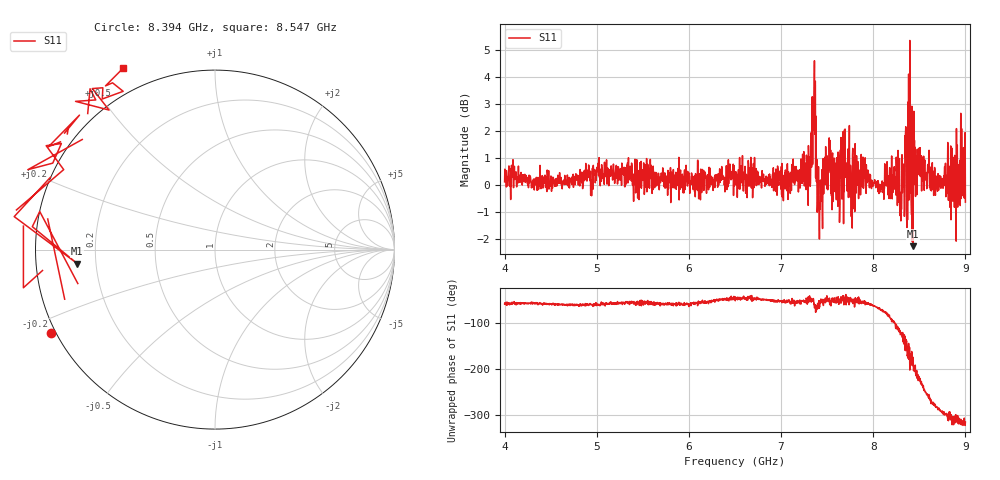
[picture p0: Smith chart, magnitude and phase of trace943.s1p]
! Created with skrf 1.8.0 (http://scikit-rf.org).
# Hz S RI R 50.0
!freq ReS11 ImS11
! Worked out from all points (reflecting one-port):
!   1601 points, 4 GHz to 9 GHz, reference 50 ohm
!   lowest |S11| = -2.3 dB at 8.431 GHz (marker M1), VSWR 7.74, Z = 6.48 - j2.5 ohm
!   phase of S11 starts at -58 deg and turns -257 deg over the sweep
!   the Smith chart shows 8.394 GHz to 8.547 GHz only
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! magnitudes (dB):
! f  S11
! 4 GHz  0.1
! 4.625 GHz  -0.1
! 5.25 GHz  0.3
! 5.875 GHz  0.3
! 6.5 GHz  0.4
! 7.125 GHz  0.2
! 7.309 GHz  0.4
! 7.356 GHz  2.9
! 7.381 GHz  1.3
! 7.4 GHz  0.2
! 7.416 GHz  -2.0
! 7.509 GHz  0.0
! 7.575 GHz  1.0
! 7.691 GHz  0.4
! 7.75 GHz  -0.4
! 7.891 GHz  0.0
! 8.097 GHz  0.2
! 8.259 GHz  1.0
! 8.316 GHz  -0.3
! 8.334 GHz  0.4
! 8.356 GHz  2.1
! 8.375 GHz  0.2
! 8.431 GHz  -2.3
! 8.503 GHz  1.4
! 8.697 GHz  -0.2
! 8.841 GHz  1.5
! 8.972 GHz  0.4
! 9 GHz  -0.6
